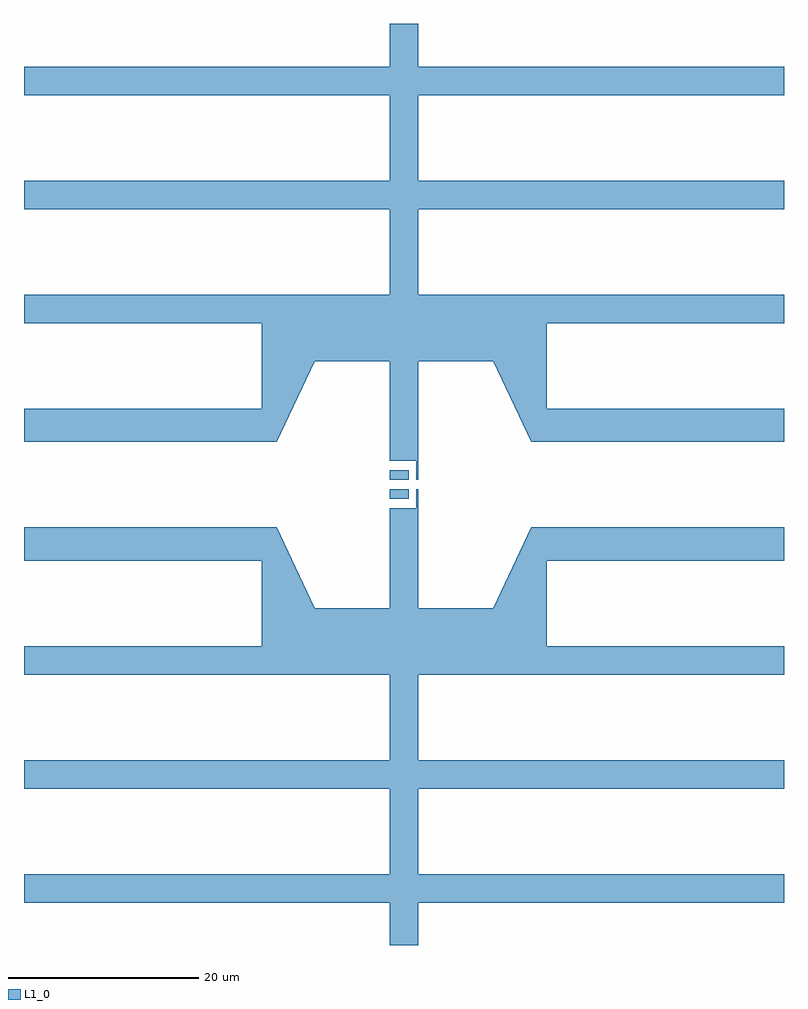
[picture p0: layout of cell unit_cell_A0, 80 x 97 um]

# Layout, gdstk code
from math import pi, radians
import gdstk
lib = gdstk.Library(unit=1e-6, precision=1e-09)
def R(c, l, rs):  # rectangles x0, y0, x1, y1
    for r in rs: c.add(gdstk.rectangle(r[:2], r[2:], *l))
def P(c, l, *ps):  # polygons
    for p in ps: c.add(gdstk.Polygon(p, *l))
L1_0 = (1, 0)

unnamed_61 = lib.new_cell('Unnamed_61')
P(unnamed_61, L1_0, [(38.5,0),(38.5,4.5),(0,4.5),(0,7.5),(38.5,7.5),(38.5,16.5),(0,16.5),(0,19.5),(38.5,19.5),(38.5,28.5),(0,28.5),(0,31.5),(25,31.5),(25,40.5),(0,40.5),(0,44),(26.597,44),(30.596,35.5),(38.5,35.5),(38.5,46),(40,46),(40,0)])

unnamed_62 = lib.new_cell('Unnamed_62')
unnamed_62.add(gdstk.Reference(unnamed_61, (0,0)))

rectangle_s2_1_lwg_cfal_ = lib.new_cell('rectangle_S2_1_LWG_CFal_a0a9c26d')
R(rectangle_s2_1_lwg_cfal_, L1_0, [(0,0,2,1)])

rectangle_s0p2_2_lwg_cf_ = lib.new_cell('rectangle_S0p2_2_LWG_CF_9ef6d549')
R(rectangle_s0p2_2_lwg_cf_, L1_0, [(0,0,0.2,2)])

unnamed_63 = lib.new_cell('Unnamed_63')
unnamed_63.add(gdstk.Reference(rectangle_s2_1_lwg_cfal_, (0,-1.5)))
unnamed_63.add(gdstk.Reference(rectangle_s0p2_2_lwg_cf_, (2.8,-2.5)))

unit_cell_a0 = lib.new_cell('unit_cell_A0')
unit_cell_a0.add(gdstk.Reference(unnamed_62, (0,0)))
unit_cell_a0.add(gdstk.Reference(unnamed_62, (80,0), rotation=pi, x_reflection=True))
unit_cell_a0.add(gdstk.Reference(unnamed_62, (0,97), x_reflection=True))
unit_cell_a0.add(gdstk.Reference(unnamed_62, (80,97), rotation=pi))
unit_cell_a0.add(gdstk.Reference(unnamed_63, (38.5,48.5)))
unit_cell_a0.add(gdstk.Reference(unnamed_63, (38.5,48.5), x_reflection=True))

lib.write_gds('unit_cell_A0.gds')
